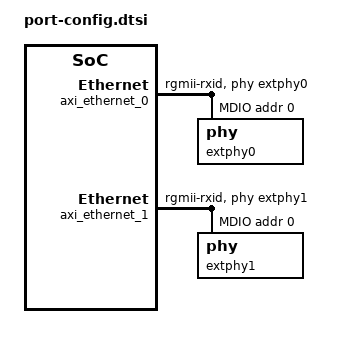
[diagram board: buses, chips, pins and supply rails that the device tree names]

    &axi_ethernet_0 {  
    	/delete-property/ xlnx,phy-type;
        local-mac-address = [00 0a 35 00 01 22];  
        phy-handle = <&extphy0>;  
        xlnx,has-mdio = <0x1>;  
        phy-mode = "rgmii-rxid";  
        mdio {  
            #address-cells = <1>;  
            #size-cells = <0>;  
            extphy0: phy@0 {  
                device_type = "ethernet-phy";  
                reg = <0>;  
            };  
        };  
    };  
      
    &axi_ethernet_1 {  
    	/delete-property/ xlnx,phy-type;
        local-mac-address = [00 0a 35 00 01 23];  
        phy-handle = <&extphy1>;  
        xlnx,has-mdio = <0x1>;  
        phy-mode = "rgmii-rxid";  
        mdio {  
            #address-cells = <1>;  
            #size-cells = <0>;  
            extphy1: phy@0 {  
                device_type = "ethernet-phy";  
                reg = <0>;  
            };  
        };  
    };  
      
